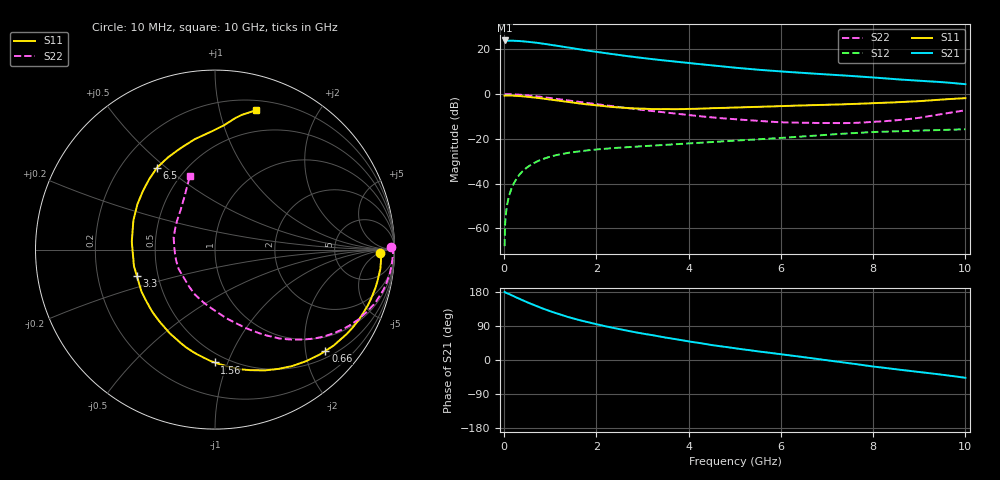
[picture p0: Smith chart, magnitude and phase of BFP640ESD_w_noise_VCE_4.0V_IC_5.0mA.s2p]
! Infineon Technologies  Discrete & RF Semiconductors
! BFP640ESD
! VCE =  4.0 V,  IC =  5.0 mA
! Common Emitter S-Parameters:  Jan 2016
# GHz  S  MA  R  50
!  f  S11  S21  S12  S22
! GHz  MAG  ANG  MAG  ANG  MAG  ANG  MAG  ANG
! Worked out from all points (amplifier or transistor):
!   233 points, 10 MHz to 10 GHz, reference 50 ohm
!   highest |S21| = 23.9 dB at 10 MHz (marker M1)
!   |S21| within 3 dB of that: start of sweep to 1.337 GHz
!   unconditionally stable (mu >= 1): start of sweep to 12.79 MHz; 4.684 GHz to 8.993 GHz
!   at 200 MHz: K = 0.11, MSG = 32.0 dB, |S12| = -40.3 dB
!   at 1.74 GHz: K = 0.47, MSG = 22.5 dB, |S12| = -25.3 dB
!   at 10 GHz: K = 0.82, MSG = 10.1 dB, |S12| = -15.7 dB
!   lowest NFmin = 0.58 dB at 450 MHz
!   S11 on the Smith chart (normalised r, x): 10 MHz: 22, -5; 660 MHz: 0.65, -2.42; 1.56 GHz: 0.43, -0.90; 3.3 GHz: 0.38, -0.14; 6.5 GHz: 0.35, +0.47; 10 GHz: 0.29, +1.30
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0.01  0.917 -1.1  15.72 179.8  0.0004 1.2  0.9826 0.8
0.03  0.9266 -2.1  15.56 178.3  0.0017 60.9  0.9924 -1.1
0.08  0.9269 -5.4  15.56 175.4  0.0041 77.0  0.9904 -3.1
0.3  0.9072 -19.8  15.34 163.2  0.0144 76.0  0.971 -11.7
0.5  0.872 -32.6  14.74 152.4  0.0231 69.8  0.9354 -19.2
0.66  0.8349 -42.5  14.11 144.2  0.0292 64.8  0.8984 -24.5
0.9  0.7787 -56.4  13.07 132.9  0.0372 58.2  0.8395 -31.9
1.08  0.7329 -66.3  12.25 125.3  0.042 53.9  0.7923 -36.9
1.3  0.6825 -77.8  11.3 116.6  0.047 49.4  0.7374 -42.3
1.56  0.6286 -90.2  10.24 107.6  0.0516 45.1  0.6781 -47.7
1.68  0.606 -95.8  9.802 103.7  0.0534 43.4  0.6532 -50.0
2  0.5568 -109.5  8.728 94.4  0.0577 39.9  0.5943 -55.5
2.4  0.5089 -126.6  7.652 83.8  0.0624 36.4  0.5263 -62.2
2.84  0.477 -144.4  6.68 73.3  0.0667 33.7  0.4614 -69.5
3.3  0.4595 -161.2  5.877 63.7  0.0714 31.5  0.4078 -77.0
3.4  0.4592 -164.8  5.725 61.5  0.0725 31.1  0.3973 -78.8
4  0.4657 174.6  4.942 49.1  0.0794 28.9  0.34 -90.3
5.1  0.5033 147.8  3.8 29.3  0.0922 24.0  0.2696 -115.8
6.5  0.5591 125.3  2.954 7.3  0.1133 17.6  0.2295 -151.5
6.8  0.5679 120.4  2.82 2.6  0.119 15.7  0.2256 -158.8
8.4  0.6472 94.1  2.176 -23.1  0.1461 1.2  0.2542 149.9
10  0.8091 73.6  1.66 -47.0  0.1632 -12.7  0.4337 108.9
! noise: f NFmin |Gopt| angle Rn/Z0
0.45  0.58  0.41  10  0.14
0.9  0.6  0.39  22  0.13
1.9  0.67  0.31  47  0.12
2.4  0.72  0.27  62  0.11
5.5  1.09  0.34  -144  0.08
10  2.11  0.63  -83  0.89
